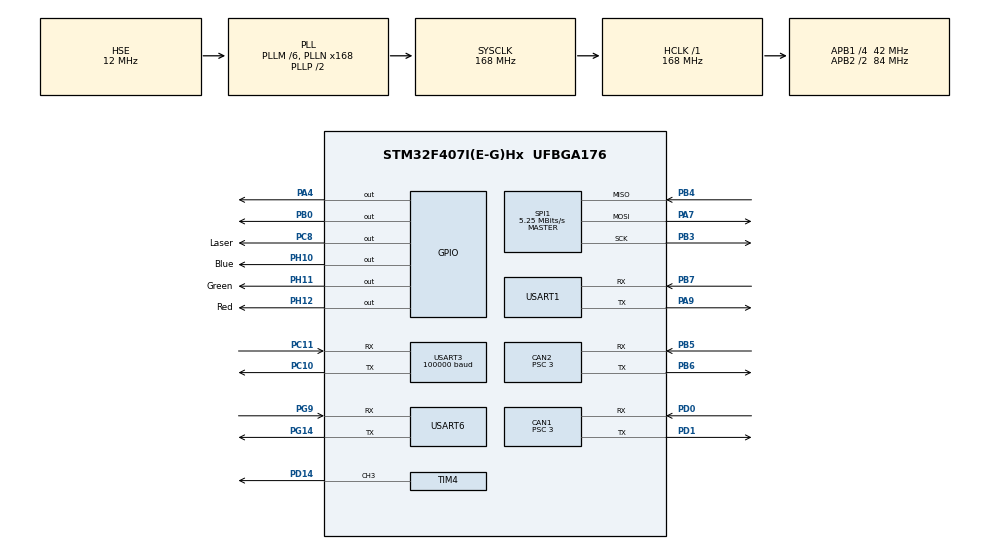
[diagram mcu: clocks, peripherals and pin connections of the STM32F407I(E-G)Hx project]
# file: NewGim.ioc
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CAN1.BS1=CAN_BS1_10TQ
CAN1.BS2=CAN_BS2_3TQ
CAN1.CalculateBaudRate=1000000
CAN1.CalculateTimeBit=1000
CAN1.CalculateTimeQuantum=71.42857142857143
CAN1.Prescaler=3
CAN2.BS1=CAN_BS1_10TQ
CAN2.BS2=CAN_BS2_3TQ
CAN2.CalculateBaudRate=1000000
CAN2.CalculateTimeBit=1000
CAN2.CalculateTimeQuantum=71.42857142857143
CAN2.Prescaler=3
Dma.Request0=USART3_RX
Dma.Request1=USART6_RX
Dma.USART3_RX.0.Direction=DMA_PERIPH_TO_MEMORY
Dma.USART3_RX.0.FIFOMode=DMA_FIFOMODE_DISABLE
Dma.USART3_RX.0.Instance=DMA1_Stream1
Dma.USART3_RX.0.MemDataAlignment=DMA_MDATAALIGN_BYTE
Dma.USART3_RX.0.MemInc=DMA_MINC_ENABLE
Dma.USART3_RX.0.Mode=DMA_CIRCULAR
Dma.USART3_RX.0.PeriphDataAlignment=DMA_PDATAALIGN_BYTE
Dma.USART3_RX.0.PeriphInc=DMA_PINC_DISABLE
Dma.USART3_RX.0.Priority=DMA_PRIORITY_VERY_HIGH
Dma.USART6_RX.1.Direction=DMA_PERIPH_TO_MEMORY
Dma.USART6_RX.1.FIFOMode=DMA_FIFOMODE_DISABLE
Dma.USART6_RX.1.Instance=DMA2_Stream1
Dma.USART6_RX.1.MemDataAlignment=DMA_MDATAALIGN_BYTE
Dma.USART6_RX.1.MemInc=DMA_MINC_ENABLE
Dma.USART6_RX.1.Mode=DMA_NORMAL
Dma.USART6_RX.1.PeriphDataAlignment=DMA_PDATAALIGN_BYTE
Dma.USART6_RX.1.PeriphInc=DMA_PINC_DISABLE
Dma.USART6_RX.1.Priority=DMA_PRIORITY_VERY_HIGH
IWDG.Prescaler=IWDG_PRESCALER_32
IWDG.Reload=1000-1
Mcu.Family=STM32F4
Mcu.Name=STM32F407I(E-G)Hx
Mcu.Package=UFBGA176
NVIC.CAN1_RX0_IRQn=true\:1\:0\:true\:false\:true\:true\:true\:true
NVIC.CAN2_RX1_IRQn=true\:1\:0\:true\:false\:true\:true\:true\:true
NVIC.DMA1_Stream1_IRQn=true\:0\:0\:false\:false\:true\:false\:true\:true
NVIC.DMA2_Stream1_IRQn=true\:0\:0\:false\:false\:true\:false\:true\:true
NVIC.PriorityGroup=NVIC_PRIORITYGROUP_4
NVIC.TIM2_IRQn=true\:1\:0\:true\:false\:true\:true\:true\:true
NVIC.TIM3_IRQn=true\:1\:0\:true\:false\:true\:true\:true\:true
NVIC.TIM5_IRQn=true\:1\:0\:true\:false\:true\:true\:true\:true
NVIC.TIM7_IRQn=true\:3\:0\:true\:false\:true\:true\:true\:true
NVIC.USART3_IRQn=true\:0\:0\:false\:false\:true\:true\:true\:true
NVIC.USART6_IRQn=true\:0\:0\:false\:false\:true\:true\:true\:true
PA13.Mode=Serial_Wire
PA13.Signal=SYS_JTMS-SWDIO
PA14.Mode=Serial_Wire
PA14.Signal=SYS_JTCK-SWCLK
PA4.GPIO_Speed=GPIO_SPEED_FREQ_VERY_HIGH
PA4.PinState=GPIO_PIN_SET
PA4.Signal=GPIO_Output
PA7.Mode=Full_Duplex_Master
PA7.Signal=SPI1_MOSI
PA9.Mode=Asynchronous
PA9.Signal=USART1_TX
PB0.GPIO_Speed=GPIO_SPEED_FREQ_VERY_HIGH
PB0.PinState=GPIO_PIN_SET
PB0.Signal=GPIO_Output
PB3.Mode=Full_Duplex_Master
PB3.Signal=SPI1_SCK
PB4.Mode=Full_Duplex_Master
PB4.Signal=SPI1_MISO
PB5.Mode=CAN_Activate
PB5.Signal=CAN2_RX
PB6.Mode=CAN_Activate
PB6.Signal=CAN2_TX
PB7.Mode=Asynchronous
PB7.Signal=USART1_RX
PC10.Mode=Asynchronous
PC10.Signal=USART3_TX
PC11.Mode=Asynchronous
PC11.Signal=USART3_RX
PC8.GPIO_Label=Laser
PC8.GPIO_ModeDefaultOutputPP=GPIO_MODE_OUTPUT_PP
PC8.GPIO_PuPd=GPIO_PULLUP
PC8.PinState=GPIO_PIN_SET
PC8.Signal=GPIO_Output
PD0.Mode=CAN_Activate
PD0.Signal=CAN1_RX
PD1.Mode=CAN_Activate
PD1.Signal=CAN1_TX
PD14.Signal=S_TIM4_CH3
PG14.Mode=Asynchronous
PG14.Signal=USART6_TX
PG9.Mode=Asynchronous
PG9.Signal=USART6_RX
PH0-OSC_IN.Mode=HSE-External-Oscillator
PH0-OSC_IN.Signal=RCC_OSC_IN
PH1-OSC_OUT.Mode=HSE-External-Oscillator
PH1-OSC_OUT.Signal=RCC_OSC_OUT
PH10.GPIO_Label=Blue
PH10.GPIO_PuPd=GPIO_PULLDOWN
PH10.Signal=GPIO_Output
PH11.GPIO_Label=Green
PH11.GPIO_PuPd=GPIO_PULLDOWN
PH11.Signal=GPIO_Output
PH12.GPIO_Label=Red
PH12.GPIO_PuPd=GPIO_PULLDOWN
PH12.Signal=GPIO_Output
ProjectManager.HeapSize=0x200
ProjectManager.StackSize=0x400
ProjectManager.TargetToolchain=STM32CubeIDE
RCC.48MHZClocksFreq_Value=84000000
RCC.AHBFreq_Value=168000000
RCC.APB1CLKDivider=RCC_HCLK_DIV4
RCC.APB1Freq_Value=42000000
RCC.APB1TimFreq_Value=84000000
RCC.APB2CLKDivider=RCC_HCLK_DIV2
RCC.APB2Freq_Value=84000000
RCC.APB2TimFreq_Value=168000000
RCC.CortexFreq_Value=168000000
RCC.HCLKFreq_Value=168000000
RCC.HSE_VALUE=12000000
RCC.HSI_VALUE=16000000
RCC.LSE_VALUE=32768
RCC.PLLM=6
RCC.PLLN=168
RCC.PLLSourceVirtual=RCC_PLLSOURCE_HSE
RCC.SYSCLKFreq_VALUE=168000000
RCC.SYSCLKSource=RCC_SYSCLKSOURCE_PLLCLK
RCC.VCOOutputFreq_Value=336000000
SH.S_TIM4_CH3.0=TIM4_CH3,PWM Generation3 CH3
SPI1.BaudRatePrescaler=SPI_BAUDRATEPRESCALER_16
SPI1.CLKPhase=SPI_PHASE_2EDGE
SPI1.CLKPolarity=SPI_POLARITY_HIGH
SPI1.CalculateBaudRate=5.25 MBits/s
SPI1.Direction=SPI_DIRECTION_2LINES
SPI1.Mode=SPI_MODE_MASTER
SPI1.VirtualType=VM_MASTER
TIM2.Period=1000-1
TIM2.Prescaler=84-1
TIM3.Period=1000-1
TIM3.Prescaler=84-1
TIM4.Channel-PWM\ Generation3\ CH3=TIM_CHANNEL_3
TIM4.Period=1000-1
TIM4.Prescaler=84-1
TIM5.Period=1000-1
TIM5.Prescaler=84-1
TIM7.Period=2000-1
TIM7.Prescaler=8400-1
USART1.VirtualMode=VM_ASYNC
USART3.BaudRate=100000
USART3.VirtualMode=VM_ASYNC
USART6.VirtualMode=VM_ASYNC
VP_IWDG_VS_IWDG.Mode=IWDG_Activate
VP_TIM2_VS_ClockSourceINT.Mode=Internal
VP_TIM3_VS_ClockSourceINT.Mode=Internal
VP_TIM4_VS_ClockSourceINT.Mode=Internal
VP_TIM5_VS_ClockSourceINT.Mode=Internal
VP_TIM7_VS_ClockSourceINT.Mode=Enable_Timer
board=custom

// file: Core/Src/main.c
/* USER CODE BEGIN Header */
/**
  ******************************************************************************
  * @file           : main.c
  * @brief          : Main program body
  ******************************************************************************
  * @attention
  *
  * Copyright (c) 2024 STMicroelectronics.
  * All rights reserved.
  *
  * This software is licensed under terms that can be found in the LICENSE file
  * in the root directory of this software component.
  * If no LICENSE file comes with this software, it is provided AS-IS.
  *
  ******************************************************************************
  */
/* USER CODE END Header */
#include "main.h"
#include "can.h"
#include "dma.h"
#include "iwdg.h"
#include "spi.h"
#include "tim.h"
#include "usart.h"
#include "gpio.h"

/* USER CODE BEGIN Includes */
#include "rc.h"
#include "imu.h"

#include "motors.h"
#include "referee.h"

// 自定义函数 //
void MCU_Beep_Up(void);
void Laser_OFF(void);
void Laser_ON(void);
void Blink(void);

void MCU_Beep_Up(void)
{
  HAL_TIM_PWM_Start(&htim4,TIM_CHANNEL_3);
  __HAL_TIM_SET_COMPARE(&htim4,TIM_CHANNEL_3,500);
  HAL_Delay(100);
  __HAL_TIM_SET_COMPARE(&htim4,TIM_CHANNEL_3,0);
}

void Laser_OFF(void)
{
  HAL_GPIO_WritePin(Laser_GPIO_Port,Laser_Pin,GPIO_PIN_RESET);
}

void Laser_ON(void)
{
  HAL_GPIO_WritePin(Laser_GPIO_Port,Laser_Pin,GPIO_PIN_SET);
}

void Blink(void)
{
  HAL_GPIO_TogglePin(Green_GPIO_Port,Green_Pin);
}

/* USER CODE END Includes */

void SystemClock_Config(void);

int main(void)
{

  /* MCU Configuration--------------------------------------------------------*/

  /* Reset of all peripherals, Initializes the Flash interface and the Systick. */
  HAL_Init();

  /* Configure the system clock */
  SystemClock_Config();

  /* Initialize all configured peripherals */
  MX_GPIO_Init();
  MX_DMA_Init();
  MX_TIM2_Init();
  MX_TIM3_Init();
  MX_TIM4_Init();
  MX_TIM5_Init();
  MX_TIM7_Init();
  MX_USART1_UART_Init();
  MX_USART3_UART_Init();
  MX_USART6_UART_Init();
  MX_SPI1_Init();
  MX_CAN1_Init();
  MX_CAN2_Init();
  MX_IWDG_Init();

  /* Infinite loop */
  /* USER CODE BEGIN WHILE */
  Start_Referee_Rx();
  MCU_Beep_Up(); Laser_OFF();
  Dbus_Init(); HAL_Delay(1000);
  IMU_Init(); Enable_Motors();
  while (1)
  {
    HAL_Delay(20);
    if(0x01==rc.sw1 || 0==rc.sw1){
      Laser_OFF();
    }else{
      Laser_ON();
    }
    Blink();
    /* USER CODE END WHILE */

  }
}

void SystemClock_Config(void)
{
  RCC_OscInitTypeDef RCC_OscInitStruct = {0};
  RCC_ClkInitTypeDef RCC_ClkInitStruct = {0};

  /** Configure the main internal regulator output voltage
  */
  __HAL_RCC_PWR_CLK_ENABLE();
  __HAL_PWR_VOLTAGESCALING_CONFIG(PWR_REGULATOR_VOLTAGE_SCALE1);

  /** Initializes the RCC Oscillators according to the specified parameters
  * in the RCC_OscInitTypeDef structure.
  */
  RCC_OscInitStruct.OscillatorType = RCC_OSCILLATORTYPE_LSI|RCC_OSCILLATORTYPE_HSE;
  RCC_OscInitStruct.HSEState = RCC_HSE_ON;
  RCC_OscInitStruct.LSIState = RCC_LSI_ON;
  RCC_OscInitStruct.PLL.PLLState = RCC_PLL_ON;
  RCC_OscInitStruct.PLL.PLLSource = RCC_PLLSOURCE_HSE;
  RCC_OscInitStruct.PLL.PLLM = 6;
  RCC_OscInitStruct.PLL.PLLN = 168;
  RCC_OscInitStruct.PLL.PLLP = RCC_PLLP_DIV2;
  RCC_OscInitStruct.PLL.PLLQ = 4;
  if (HAL_RCC_OscConfig(&RCC_OscInitStruct) != HAL_OK)
  {
    Error_Handler();
  }

  /** Initializes the CPU, AHB and APB buses clocks
  */
  RCC_ClkInitStruct.ClockType = RCC_CLOCKTYPE_HCLK|RCC_CLOCKTYPE_SYSCLK
                              |RCC_CLOCKTYPE_PCLK1|RCC_CLOCKTYPE_PCLK2;
  RCC_ClkInitStruct.SYSCLKSource = RCC_SYSCLKSOURCE_PLLCLK;
  RCC_ClkInitStruct.AHBCLKDivider = RCC_SYSCLK_DIV1;
  RCC_ClkInitStruct.APB1CLKDivider = RCC_HCLK_DIV4;
  RCC_ClkInitStruct.APB2CLKDivider = RCC_HCLK_DIV2;

  if (HAL_RCC_ClockConfig(&RCC_ClkInitStruct, FLASH_LATENCY_5) != HAL_OK)
  {
    Error_Handler();
  }
}

void Error_Handler(void)
{
  __disable_irq();
  while (1)
  {
  }
}
